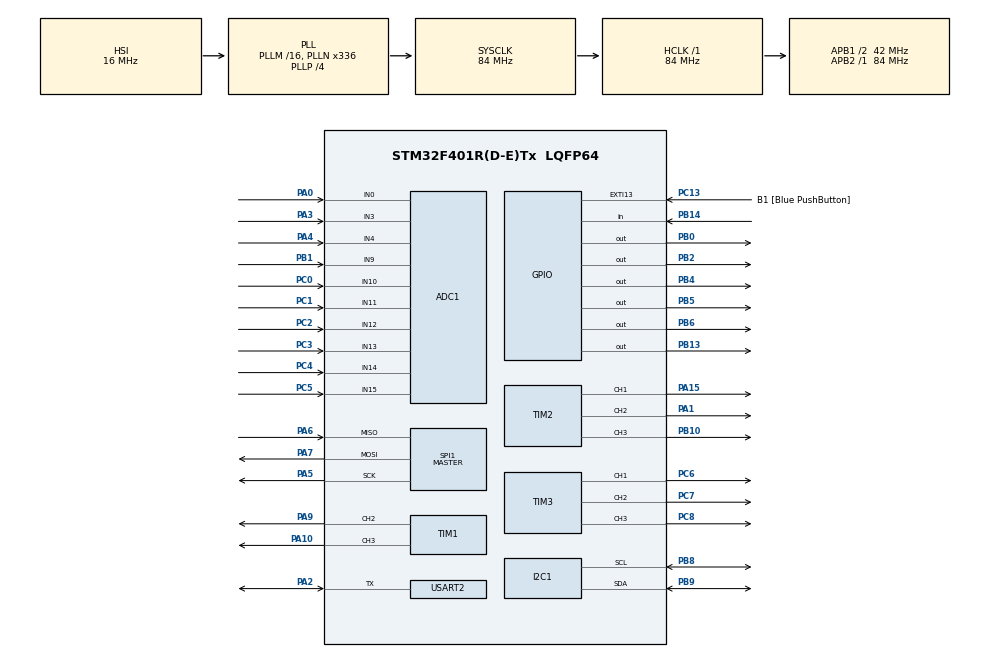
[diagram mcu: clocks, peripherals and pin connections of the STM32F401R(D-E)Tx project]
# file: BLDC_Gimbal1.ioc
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ADC1.Channel-10\#ChannelRegularConversion=ADC_CHANNEL_15
ADC1.Channel-2\#ChannelRegularConversion=ADC_CHANNEL_0
ADC1.Channel-3\#ChannelRegularConversion=ADC_CHANNEL_4
ADC1.Channel-4\#ChannelRegularConversion=ADC_CHANNEL_9
ADC1.Channel-5\#ChannelRegularConversion=ADC_CHANNEL_10
ADC1.Channel-6\#ChannelRegularConversion=ADC_CHANNEL_11
ADC1.Channel-7\#ChannelRegularConversion=ADC_CHANNEL_12
ADC1.Channel-8\#ChannelRegularConversion=ADC_CHANNEL_13
ADC1.Channel-9\#ChannelRegularConversion=ADC_CHANNEL_14
ADC1.ClockPrescaler=ADC_CLOCK_SYNC_PCLK_DIV8
ADC1.ContinuousConvMode=ENABLE
ADC1.DMAContinuousRequests=ENABLE
ADC1.EOCSelection=ADC_EOC_SINGLE_CONV
ADC1.InjNumberOfConversion=0
ADC1.NbrOfConversion=9
ADC1.NbrOfConversionFlag=1
ADC1.Rank-10\#ChannelRegularConversion=9
ADC1.Rank-2\#ChannelRegularConversion=1
ADC1.Rank-3\#ChannelRegularConversion=2
ADC1.Rank-4\#ChannelRegularConversion=3
ADC1.Rank-5\#ChannelRegularConversion=4
ADC1.Rank-6\#ChannelRegularConversion=5
ADC1.Rank-7\#ChannelRegularConversion=6
ADC1.Rank-8\#ChannelRegularConversion=7
ADC1.Rank-9\#ChannelRegularConversion=8
ADC1.SamplingTime-10\#ChannelRegularConversion=ADC_SAMPLETIME_3CYCLES
ADC1.SamplingTime-2\#ChannelRegularConversion=ADC_SAMPLETIME_3CYCLES
ADC1.SamplingTime-3\#ChannelRegularConversion=ADC_SAMPLETIME_3CYCLES
ADC1.SamplingTime-4\#ChannelRegularConversion=ADC_SAMPLETIME_3CYCLES
ADC1.SamplingTime-5\#ChannelRegularConversion=ADC_SAMPLETIME_3CYCLES
ADC1.SamplingTime-6\#ChannelRegularConversion=ADC_SAMPLETIME_3CYCLES
ADC1.SamplingTime-7\#ChannelRegularConversion=ADC_SAMPLETIME_3CYCLES
ADC1.SamplingTime-8\#ChannelRegularConversion=ADC_SAMPLETIME_3CYCLES
ADC1.SamplingTime-9\#ChannelRegularConversion=ADC_SAMPLETIME_3CYCLES
ADC1.master=1
Dma.ADC1.0.Direction=DMA_PERIPH_TO_MEMORY
Dma.ADC1.0.FIFOMode=DMA_FIFOMODE_DISABLE
Dma.ADC1.0.Instance=DMA2_Stream0
Dma.ADC1.0.MemDataAlignment=DMA_MDATAALIGN_HALFWORD
Dma.ADC1.0.MemInc=DMA_MINC_ENABLE
Dma.ADC1.0.Mode=DMA_NORMAL
Dma.ADC1.0.PeriphDataAlignment=DMA_PDATAALIGN_HALFWORD
Dma.ADC1.0.PeriphInc=DMA_PINC_DISABLE
Dma.ADC1.0.Priority=DMA_PRIORITY_LOW
Dma.Request0=ADC1
I2C1.I2C_Mode=I2C_Fast
Mcu.Family=STM32F4
Mcu.Name=STM32F401R(D-E)Tx
Mcu.Package=LQFP64
NVIC.DMA2_Stream0_IRQn=true\:0\:0\:false\:false\:true\:false\:true
NVIC.PriorityGroup=NVIC_PRIORITYGROUP_0
PA0-WKUP.Signal=ADCx_IN0
PA1.Signal=S_TIM2_CH2
PA10.Signal=S_TIM1_CH3
PA11.Signal=S_TIM1_CH4
PA13.GPIO_Label=TMS
PA13.Mode=Serial_Wire
PA13.Signal=SYS_JTMS-SWDIO
PA14.GPIO_Label=TCK
PA14.Mode=Serial_Wire
PA14.Signal=SYS_JTCK-SWCLK
PA15.Signal=S_TIM2_CH1_ETR
PA2.Mode=Half_duplex(single_wire_mode)
PA2.Signal=USART2_TX
PA3.Signal=ADCx_IN3
PA4.Signal=ADCx_IN4
PA5.Mode=Full_Duplex_Master
PA5.Signal=SPI1_SCK
PA6.Mode=Full_Duplex_Master
PA6.Signal=SPI1_MISO
PA7.Mode=Full_Duplex_Master
PA7.Signal=SPI1_MOSI
PA9.Signal=S_TIM1_CH2
PB0.Signal=GPIO_Output
PB1.Signal=ADCx_IN9
PB10.Signal=S_TIM2_CH3
PB13.Signal=GPIO_Output
PB14.Signal=GPIO_Input
PB2.Signal=GPIO_Output
PB3.GPIO_Label=SWO
PB3.Signal=SYS_JTDO-SWO
PB4.Signal=GPIO_Output
PB5.Signal=GPIO_Output
PB6.Signal=GPIO_Output
PB8.Mode=I2C
PB8.Signal=I2C1_SCL
PB9.Mode=I2C
PB9.Signal=I2C1_SDA
PC0.Signal=ADCx_IN10
PC1.Signal=ADCx_IN11
PC13-ANTI_TAMP.GPIO_Label=B1 [Blue PushButton]
PC13-ANTI_TAMP.GPIO_ModeDefaultEXTI=GPIO_MODE_IT_FALLING
PC13-ANTI_TAMP.GPIO_PuPd=GPIO_NOPULL
PC13-ANTI_TAMP.Signal=GPXTI13
PC14-OSC32_IN.Mode=LSE-External-Oscillator
PC14-OSC32_IN.Signal=RCC_OSC32_IN
PC15-OSC32_OUT.Mode=LSE-External-Oscillator
PC15-OSC32_OUT.Signal=RCC_OSC32_OUT
PC2.Signal=ADCx_IN12
PC3.Signal=ADCx_IN13
PC4.Signal=ADCx_IN14
PC5.Signal=ADCx_IN15
PC6.Signal=S_TIM3_CH1
PC7.Signal=S_TIM3_CH2
PC8.Signal=S_TIM3_CH3
PH0\ -\ OSC_IN.Mode=HSE-External-Clock-Source
PH0\ -\ OSC_IN.Signal=RCC_OSC_IN
PH1\ -\ OSC_OUT.Mode=HSE-External-Clock-Source
PH1\ -\ OSC_OUT.Signal=RCC_OSC_OUT
ProjectManager.HeapSize=0x200
ProjectManager.StackSize=0x400
ProjectManager.TargetToolchain=STM32CubeIDE
RCC.48MHZClocksFreq_Value=84000000
RCC.AHBFreq_Value=84000000
RCC.APB1CLKDivider=RCC_HCLK_DIV2
RCC.APB1Freq_Value=42000000
RCC.APB1TimFreq_Value=84000000
RCC.APB2Freq_Value=84000000
RCC.APB2TimFreq_Value=84000000
RCC.CortexFreq_Value=84000000
RCC.HCLKFreq_Value=84000000
RCC.HSE_VALUE=25000000
RCC.HSI_VALUE=16000000
RCC.PLLN=336
RCC.PLLP=RCC_PLLP_DIV4
RCC.SYSCLKFreq_VALUE=84000000
RCC.SYSCLKSource=RCC_SYSCLKSOURCE_PLLCLK
RCC.VCOOutputFreq_Value=336000000
SH.ADCx_IN0.0=ADC1_IN0,IN0
SH.ADCx_IN10.0=ADC1_IN10,IN10
SH.ADCx_IN11.0=ADC1_IN11,IN11
SH.ADCx_IN12.0=ADC1_IN12,IN12
SH.ADCx_IN13.0=ADC1_IN13,IN13
SH.ADCx_IN14.0=ADC1_IN14,IN14
SH.ADCx_IN15.0=ADC1_IN15,IN15
SH.ADCx_IN3.0=ADC1_IN3,IN3
SH.ADCx_IN4.0=ADC1_IN4,IN4
SH.ADCx_IN9.0=ADC1_IN9,IN9
SH.S_TIM1_CH2.0=TIM1_CH2,PWM Generation2 CH2
SH.S_TIM1_CH3.0=TIM1_CH3,PWM Generation3 CH3
SH.S_TIM1_CH4.0=TIM1_CH4
SH.S_TIM2_CH1_ETR.0=TIM2_CH1,PWM Generation1 CH1
SH.S_TIM2_CH2.0=TIM2_CH2,PWM Generation2 CH2
SH.S_TIM2_CH3.0=TIM2_CH3,PWM Generation3 CH3
SH.S_TIM3_CH1.0=TIM3_CH1,PWM Generation1 CH1
SH.S_TIM3_CH2.0=TIM3_CH2,PWM Generation2 CH2
SH.S_TIM3_CH3.0=TIM3_CH3,PWM Generation3 CH3
SPI1.BaudRatePrescaler=SPI_BAUDRATEPRESCALER_64
SPI1.DataSize=SPI_DATASIZE_8BIT
SPI1.Direction=SPI_DIRECTION_2LINES
SPI1.Mode=SPI_MODE_MASTER
SPI1.VirtualType=VM_MASTER
TIM1.Channel-PWM\ Generation1\ CH1=TIM_CHANNEL_1
TIM1.Channel-PWM\ Generation2\ CH2=TIM_CHANNEL_2
TIM1.Channel-PWM\ Generation3\ CH3=TIM_CHANNEL_3
TIM2.Channel-PWM\ Generation1\ CH1=TIM_CHANNEL_1
TIM2.Channel-PWM\ Generation2\ CH2=TIM_CHANNEL_2
TIM2.Channel-PWM\ Generation3\ CH3=TIM_CHANNEL_3
TIM3.Channel-PWM\ Generation1\ CH1=TIM_CHANNEL_1
TIM3.Channel-PWM\ Generation2\ CH2=TIM_CHANNEL_2
TIM3.Channel-PWM\ Generation3\ CH3=TIM_CHANNEL_3
USART2.VirtualMode=VM_ASYNC
VP_TIM1_VS_ClockSourceINT.Mode=Internal
VP_TIM2_VS_ClockSourceINT.Mode=Internal
VP_TIM3_VS_ClockSourceINT.Mode=Internal
board=NUCLEO-F401RE

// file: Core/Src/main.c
/* USER CODE BEGIN Header */
/**
 ******************************************************************************
 * @file           : main.c
 * @brief          : Main program body
 ******************************************************************************
 * @attention
 *
 * <h2><center>&copy; Copyright (c) 2021 STMicroelectronics.
 * All rights reserved.</center></h2>
 *
 * This software component is licensed by ST under BSD 3-Clause license,
 * the "License"; You may not use this file except in compliance with the
 * License. You may obtain a copy of the License at:
 *                        opensource.org/licenses/BSD-3-Clause
 *
 ******************************************************************************
 */
/* USER CODE END Header */
#include "main.h"

/* USER CODE BEGIN Includes */
#include <math.h>
#include <string.h>
#include <stdio.h>
#include <time.h>
#include "ICM20602.h"
#include "BMI270.h"
#include "I2C.h"
#include "AS5048A.h"
#include "Quaternions.h"
#include "DRV8313.h"
#include "def.h"
/* USER CODE END Includes */

ADC_HandleTypeDef hadc1;
DMA_HandleTypeDef hdma_adc1;

I2C_HandleTypeDef hi2c1;

SPI_HandleTypeDef hspi1;

TIM_HandleTypeDef htim1;
TIM_HandleTypeDef htim2;
TIM_HandleTypeDef htim3;

UART_HandleTypeDef huart2;

/* USER CODE BEGIN PV */
I2C_HandleTypeDef hi2c1;
UART_HandleTypeDef huart2;
HAL_StatusTypeDef status;

/*Configuration vars
 * Set these to configure what is read, written, printed, etc. in the while loop*/
//######################################
#define USE_SIM 0
#define USE_ICM20602 0
#define USE_BMI270 0
#define USE_AS5048A 0
#define USE_DRV8313 1
//######################################

/*Quaternion vars*/
//######################################
float SEq_1 = 1.0f, SEq_2 = 0.0f, SEq_3 = 0.0f, SEq_4 = 0.0f;
volatile float q0 = 1.0f, q1 = 0.0f, q2 = 0.0f, q3 = 0.0f;
struct EulerAngles euler;
float sampleDelay = 500.0f; //milliseconds

clock_t t1;
clock_t t2;
float while_t = 280.0f;

#define DEG_TO_RAD 0.01745329251
#define RAD_TO_DEG 57.2957795457
//######################################

/*IMU variables*/
//######################################
float gyr_range, acc_range;

int16_t gyr_x_raw, gyr_y_raw, gyr_z_raw;
int16_t acc_x_raw, acc_y_raw, acc_z_raw;
static float gyr_x, gyr_y, gyr_z;
static float acc_x, acc_y, acc_z;

float roll, pitch, yaw;

uint16_t offset_x = 0, offset_y = 0, offset_z = 0;

uint8_t chip_id = 0;
//######################################

/*Encoder vars*/
//######################################
uint16_t curr_angle[amt_encoders];
float curr_angle_map[amt_encoders];
uint16_t zero_pos[amt_encoders];
float zero_pos_map[amt_encoders];

float angle[amt_encoders];
//######################################

/*Simulation vars*/
//######################################
float ax_s = 0, ay_s = 0, az_s = 0, gx_s = 0, gy_s = 0, gz_s = 0;
uint8_t zero_c = 0;
//######################################

/*DRV8313 vars*/
//######################################
struct Drv8313_Driver MotorDriverX;
struct Drv8313_Driver MotorDriverY;
struct Drv8313_Driver MotorDriverZ;

volatile uint16_t adc_read[ADC_CHANNELS];
volatile uint8_t adcConvComplete = 0;

//######################################

//wait variable for bypassing zero-values when calculating quaternion
uint8_t waitUpdate = 0;

uint8_t buff[512]; //string buff for UART

/* USER CODE END PV */

void SystemClock_Config(void);
static void MX_GPIO_Init(void);
static void MX_SPI1_Init(void);
static void MX_I2C1_Init(void);
static void MX_TIM2_Init(void);
static void MX_TIM1_Init(void);
static void MX_TIM3_Init(void);
static void MX_ADC1_Init(void);
static void MX_DMA_Init(void);
static void MX_USART2_UART_Init(void);

int main(void)
{

  /* MCU Configuration--------------------------------------------------------*/

  /* Reset of all peripherals, Initializes the Flash interface and the Systick. */
  HAL_Init();

  /* Configure the system clock */
  SystemClock_Config();

  /* Initialize all configured peripherals */
  MX_GPIO_Init();
  MX_SPI1_Init();
  MX_I2C1_Init();
  MX_TIM2_Init();
  MX_TIM1_Init();
  MX_TIM3_Init();
  MX_ADC1_Init();
  MX_DMA_Init();
  MX_USART2_UART_Init();
  /* USER CODE BEGIN 2 */

	sprintf((char*) buff, "\r\n###########################\r\n");
	HAL_UART_Transmit(&huart2, buff, strlen((char*) buff), HAL_MAX_DELAY);

	if(USE_DRV8313){
		MotorDriverX.motor_id = AXIS_X;
		MotorDriverY.motor_id = AXIS_Y;
		MotorDriverZ.motor_id = AXIS_Z;

		//drv8313_init();

		HAL_ADC_Start_DMA(&hadc1, (uint32_t*)adc_read, ADC_CHANNELS);

	}

	if (USE_ICM20602) {
		icm20602_init();
	}

	if (USE_BMI270) {
		bmi270_spi_init();
		bmi270_spi_init_check();

		bmi270_pwr_conf(BMI270_PWR_MODE_PERF);
		bmi270_spi_write_8(REG_GYR_RANGE, range_2000);
		gyr_range = bmi270_getGyroRange();
		acc_range = bmi270_getAccelRange();
	}

	if(USE_AS5048A){
		as5048a_init();
			//Set zero position for all encoders
		zero_pos[AXIS_X] = as5048a_getRawRotation(GPIO_ENC_X);
		zero_pos[AXIS_Y] = as5048a_getRawRotation(GPIO_ENC_Y);
		zero_pos[AXIS_Z] = as5048a_getRawRotation(GPIO_ENC_Z);
		zero_pos_map[AXIS_X] = as5048a_readToAngle(zero_pos[AXIS_X]);
		zero_pos_map[AXIS_Y] = as5048a_readToAngle(zero_pos[AXIS_Y]);
		zero_pos_map[AXIS_Z] = as5048a_readToAngle(zero_pos[AXIS_Z]);
	}

	setSampleFreq();
  /* USER CODE END 2 */

  /* Infinite loop */
  /* USER CODE BEGIN WHILE */
	while (1) {
		t1 = HAL_GetTick();
		setSampleFreq();

		if (USE_AS5048A) {
			as5048a_getAllAngles();
		}

		if(USE_DRV8313){

			while(adcConvComplete == 0){

			}
			adcConvComplete = 0;

		}

		HAL_Delay(sampleDelay);

		sprintf((char*) buff, "Motor X\r\nSense1: %i\tSense2: %i\tSense3: %i\r\n", MotorDriverX.sense1, MotorDriverX.sense2, MotorDriverX.sense3);
					HAL_UART_Transmit(&huart2, buff, strlen((char*) buff), HAL_MAX_DELAY);

		if(USE_ICM20602){
			i2c_read_16(ICM20602_ADDR, REG_ACCEL_XOUT_L, REG_ACCEL_XOUT_H,
					&acc_x_raw);
			i2c_read_16(ICM20602_ADDR, REG_ACCEL_YOUT_L, REG_ACCEL_YOUT_H,
					&acc_y_raw);
			i2c_read_16(ICM20602_ADDR, REG_ACCEL_ZOUT_L, REG_ACCEL_ZOUT_H,
					&acc_z_raw);

			i2c_read_16(ICM20602_ADDR, REG_GYRO_XOUT_L, REG_GYRO_XOUT_H,
					&gyr_x_raw);
			i2c_read_16(ICM20602_ADDR, REG_GYRO_YOUT_L, REG_GYRO_YOUT_H,
					&gyr_y_raw);
			i2c_read_16(ICM20602_ADDR, REG_GYRO_ZOUT_L, REG_GYRO_ZOUT_H,
					&gyr_z_raw);

			gyr_x = gyr_x_raw / FS_SEL_divider;
			gyr_y = gyr_y_raw / FS_SEL_divider;
			gyr_z = gyr_z_raw / FS_SEL_divider;

			acc_x = acc_x_raw / AFS_SEL;
			acc_y = acc_y_raw / AFS_SEL;
			acc_z = acc_z_raw / AFS_SEL;
		}

		if(USE_BMI270){
			gyr_x = bmi270_read_gyro(AXIS_X);
			gyr_y = bmi270_read_gyro(AXIS_Y);
			gyr_z = bmi270_read_gyro(AXIS_Z);

			gyr_x = bmi270_lsb_to_dps(gyr_x, gyr_range);
			gyr_y = bmi270_lsb_to_dps(gyr_y, gyr_range);
			gyr_z = bmi270_lsb_to_dps(gyr_z, gyr_range);

			acc_x = bmi270_read_accel(AXIS_X);
			acc_y = bmi270_read_accel(AXIS_Y);
			acc_z = bmi270_read_accel(AXIS_Z);

			acc_x = bmi270_lsb_to_mps2(acc_x, acc_range);
			acc_y = bmi270_lsb_to_mps2(acc_y, acc_range);
			acc_z = bmi270_lsb_to_mps2(acc_z, acc_range);
		}

		//Wait before updating quaternion. This avoids div by zero in different Quaternion functions.
		if (waitUpdate >= 1 && !USE_SIM && (USE_BMI270 || USE_ICM20602)) {
			filterUpdate(gyr_x * DEG_TO_RAD, gyr_y * DEG_TO_RAD,
					gyr_z * DEG_TO_RAD, acc_x, acc_y, acc_z);
		}
		else if (USE_SIM) {
			gx_s = 0;
			gy_s = 0;
			gz_s = 10;
			ax_s = 0.0;
			ay_s = 0.0;
			az_s = 0.0;
			filterUpdate(gx_s * DEG_TO_RAD, gy_s * DEG_TO_RAD,
					gz_s * DEG_TO_RAD, ax_s, ay_s, az_s);
		}
		waitUpdate++;

		if(USE_ICM20602 || USE_BMI270){
			euler = ToEulerAngles(q0, q1, q2, q3);
					roll = euler.x * RAD_TO_DEG;
					pitch = euler.y * RAD_TO_DEG;
					yaw = euler.z * RAD_TO_DEG;

			sprintf((char*) buff, "gyr_range: %f\r\n"
							"acc_range: %f\r\n"
							"while loop time: %f\r\n"
							"gyroscope x: %f˚/s, y: %f˚/s, z: %f˚/s\r\n"
							"accelerometer x: %f m/s2, y: %f m/s2, z: %f m/s2\r\n"
							"q1: %f, q2: %f, q3: %f, q4: %f\r\n"
							"roll: %f, pitch: %f, yaw: %f\r\n",
							acc_range, gyr_range,
							while_t,
							gyr_x, gyr_y, gyr_z, acc_x, acc_y, acc_z,
							q0, q1, q2, q3,
							roll, pitch, yaw);

			HAL_UART_Transmit(&huart2, buff, strlen((char*) buff), HAL_MAX_DELAY);
		}

		t2 = HAL_GetTick();
		while_t = t2 - t1;
    /* USER CODE END WHILE */

	}
}

void SystemClock_Config(void)
{
  RCC_OscInitTypeDef RCC_OscInitStruct = {0};
  RCC_ClkInitTypeDef RCC_ClkInitStruct = {0};

  /** Configure the main internal regulator output voltage
  */
  __HAL_RCC_PWR_CLK_ENABLE();
  __HAL_PWR_VOLTAGESCALING_CONFIG(PWR_REGULATOR_VOLTAGE_SCALE2);
  /** Initializes the RCC Oscillators according to the specified parameters
  * in the RCC_OscInitTypeDef structure.
  */
  RCC_OscInitStruct.OscillatorType = RCC_OSCILLATORTYPE_HSI;
  RCC_OscInitStruct.HSIState = RCC_HSI_ON;
  RCC_OscInitStruct.HSICalibrationValue = RCC_HSICALIBRATION_DEFAULT;
  RCC_OscInitStruct.PLL.PLLState = RCC_PLL_ON;
  RCC_OscInitStruct.PLL.PLLSource = RCC_PLLSOURCE_HSI;
  RCC_OscInitStruct.PLL.PLLM = 16;
  RCC_OscInitStruct.PLL.PLLN = 336;
  RCC_OscInitStruct.PLL.PLLP = RCC_PLLP_DIV4;
  RCC_OscInitStruct.PLL.PLLQ = 4;
  if (HAL_RCC_OscConfig(&RCC_OscInitStruct) != HAL_OK)
  {
    Error_Handler();
  }
  /** Initializes the CPU, AHB and APB buses clocks
  */
  RCC_ClkInitStruct.ClockType = RCC_CLOCKTYPE_HCLK|RCC_CLOCKTYPE_SYSCLK
                              |RCC_CLOCKTYPE_PCLK1|RCC_CLOCKTYPE_PCLK2;
  RCC_ClkInitStruct.SYSCLKSource = RCC_SYSCLKSOURCE_PLLCLK;
  RCC_ClkInitStruct.AHBCLKDivider = RCC_SYSCLK_DIV1;
  RCC_ClkInitStruct.APB1CLKDivider = RCC_HCLK_DIV2;
  RCC_ClkInitStruct.APB2CLKDivider = RCC_HCLK_DIV1;

  if (HAL_RCC_ClockConfig(&RCC_ClkInitStruct, FLASH_LATENCY_2) != HAL_OK)
  {
    Error_Handler();
  }
}

static void MX_ADC1_Init(void)
{

  ADC_ChannelConfTypeDef sConfig = {0};

  /** Configure the global features of the ADC (Clock, Resolution, Data Alignment and number of conversion)
  */
  hadc1.Instance = ADC1;
  hadc1.Init.ClockPrescaler = ADC_CLOCK_SYNC_PCLK_DIV8;
  hadc1.Init.Resolution = ADC_RESOLUTION_12B;
  hadc1.Init.ScanConvMode = ENABLE;
  hadc1.Init.ContinuousConvMode = ENABLE;
  hadc1.Init.DiscontinuousConvMode = DISABLE;
  hadc1.Init.ExternalTrigConvEdge = ADC_EXTERNALTRIGCONVEDGE_NONE;
  hadc1.Init.ExternalTrigConv = ADC_SOFTWARE_START;
  hadc1.Init.DataAlign = ADC_DATAALIGN_RIGHT;
  hadc1.Init.NbrOfConversion = 9;
  hadc1.Init.DMAContinuousRequests = ENABLE;
  hadc1.Init.EOCSelection = ADC_EOC_SINGLE_CONV;
  if (HAL_ADC_Init(&hadc1) != HAL_OK)
  {
    Error_Handler();
  }
  /** Configure for the selected ADC regular channel its corresponding rank in the sequencer and its sample time.
  */
  sConfig.Channel = ADC_CHANNEL_0;
  sConfig.Rank = 1;
  sConfig.SamplingTime = ADC_SAMPLETIME_3CYCLES;
  if (HAL_ADC_ConfigChannel(&hadc1, &sConfig) != HAL_OK)
  {
    Error_Handler();
  }
  /** Configure for the selected ADC regular channel its corresponding rank in the sequencer and its sample time.
  */
  sConfig.Channel = ADC_CHANNEL_4;
  sConfig.Rank = 2;
  if (HAL_ADC_ConfigChannel(&hadc1, &sConfig) != HAL_OK)
  {
    Error_Handler();
  }
  /** Configure for the selected ADC regular channel its corresponding rank in the sequencer and its sample time.
  */
  sConfig.Channel = ADC_CHANNEL_9;
  sConfig.Rank = 3;
  if (HAL_ADC_ConfigChannel(&hadc1, &sConfig) != HAL_OK)
  {
    Error_Handler();
  }
  /** Configure for the selected ADC regular channel its corresponding rank in the sequencer and its sample time.
  */
  sConfig.Channel = ADC_CHANNEL_10;
  sConfig.Rank = 4;
  if (HAL_ADC_ConfigChannel(&hadc1, &sConfig) != HAL_OK)
  {
    Error_Handler();
  }
  /** Configure for the selected ADC regular channel its corresponding rank in the sequencer and its sample time.
  */
  sConfig.Channel = ADC_CHANNEL_11;
  sConfig.Rank = 5;
  if (HAL_ADC_ConfigChannel(&hadc1, &sConfig) != HAL_OK)
  {
    Error_Handler();
  }
  /** Configure for the selected ADC regular channel its corresponding rank in the sequencer and its sample time.
  */
  sConfig.Channel = ADC_CHANNEL_12;
  sConfig.Rank = 6;
  if (HAL_ADC_ConfigChannel(&hadc1, &sConfig) != HAL_OK)
  {
    Error_Handler();
  }
  /** Configure for the selected ADC regular channel its corresponding rank in the sequencer and its sample time.
  */
  sConfig.Channel = ADC_CHANNEL_13;
  sConfig.Rank = 7;
  if (HAL_ADC_ConfigChannel(&hadc1, &sConfig) != HAL_OK)
  {
    Error_Handler();
  }
  /** Configure for the selected ADC regular channel its corresponding rank in the sequencer and its sample time.
  */
  sConfig.Channel = ADC_CHANNEL_14;
  sConfig.Rank = 8;
  if (HAL_ADC_ConfigChannel(&hadc1, &sConfig) != HAL_OK)
  {
    Error_Handler();
  }
  /** Configure for the selected ADC regular channel its corresponding rank in the sequencer and its sample time.
  */
  sConfig.Channel = ADC_CHANNEL_15;
  sConfig.Rank = 9;
  if (HAL_ADC_ConfigChannel(&hadc1, &sConfig) != HAL_OK)
  {
    Error_Handler();
  }

}

static void MX_I2C1_Init(void)
{

  hi2c1.Instance = I2C1;
  hi2c1.Init.ClockSpeed = 400000;
  hi2c1.Init.DutyCycle = I2C_DUTYCYCLE_2;
  hi2c1.Init.OwnAddress1 = 0;
  hi2c1.Init.AddressingMode = I2C_ADDRESSINGMODE_7BIT;
  hi2c1.Init.DualAddressMode = I2C_DUALADDRESS_DISABLE;
  hi2c1.Init.OwnAddress2 = 0;
  hi2c1.Init.GeneralCallMode = I2C_GENERALCALL_DISABLE;
  hi2c1.Init.NoStretchMode = I2C_NOSTRETCH_DISABLE;
  if (HAL_I2C_Init(&hi2c1) != HAL_OK)
  {
    Error_Handler();
  }

}

static void MX_SPI1_Init(void)
{

  /* SPI1 parameter configuration*/
  hspi1.Instance = SPI1;
  hspi1.Init.Mode = SPI_MODE_MASTER;
  hspi1.Init.Direction = SPI_DIRECTION_2LINES;
  hspi1.Init.DataSize = SPI_DATASIZE_8BIT;
  hspi1.Init.CLKPolarity = SPI_POLARITY_LOW;
  hspi1.Init.CLKPhase = SPI_PHASE_1EDGE;
  hspi1.Init.NSS = SPI_NSS_SOFT;
  hspi1.Init.BaudRatePrescaler = SPI_BAUDRATEPRESCALER_64;
  hspi1.Init.FirstBit = SPI_FIRSTBIT_MSB;
  hspi1.Init.TIMode = SPI_TIMODE_DISABLE;
  hspi1.Init.CRCCalculation = SPI_CRCCALCULATION_DISABLE;
  hspi1.Init.CRCPolynomial = 10;
  if (HAL_SPI_Init(&hspi1) != HAL_OK)
  {
    Error_Handler();
  }

}

static void MX_TIM1_Init(void)
{

  TIM_ClockConfigTypeDef sClockSourceConfig = {0};
  TIM_MasterConfigTypeDef sMasterConfig = {0};
  TIM_OC_InitTypeDef sConfigOC = {0};
  TIM_BreakDeadTimeConfigTypeDef sBreakDeadTimeConfig = {0};

  htim1.Instance = TIM1;
  htim1.Init.Prescaler = 0;
  htim1.Init.CounterMode = TIM_COUNTERMODE_UP;
  htim1.Init.Period = 65535;
  htim1.Init.ClockDivision = TIM_CLOCKDIVISION_DIV1;
  htim1.Init.RepetitionCounter = 0;
  htim1.Init.AutoReloadPreload = TIM_AUTORELOAD_PRELOAD_DISABLE;
  if (HAL_TIM_Base_Init(&htim1) != HAL_OK)
  {
    Error_Handler();
  }
  sClockSourceConfig.ClockSource = TIM_CLOCKSOURCE_INTERNAL;
  if (HAL_TIM_ConfigClockSource(&htim1, &sClockSourceConfig) != HAL_OK)
  {
    Error_Handler();
  }
  if (HAL_TIM_PWM_Init(&htim1) != HAL_OK)
  {
    Error_Handler();
  }
  sMasterConfig.MasterOutputTrigger = TIM_TRGO_RESET;
  sMasterConfig.MasterSlaveMode = TIM_MASTERSLAVEMODE_DISABLE;
  if (HAL_TIMEx_MasterConfigSynchronization(&htim1, &sMasterConfig) != HAL_OK)
  {
    Error_Handler();
  }
  sConfigOC.OCMode = TIM_OCMODE_PWM1;
  sConfigOC.Pulse = 0;
  sConfigOC.OCPolarity = TIM_OCPOLARITY_HIGH;
  sConfigOC.OCNPolarity = TIM_OCNPOLARITY_HIGH;
  sConfigOC.OCFastMode = TIM_OCFAST_DISABLE;
  sConfigOC.OCIdleState = TIM_OCIDLESTATE_RESET;
  sConfigOC.OCNIdleState = TIM_OCNIDLESTATE_RESET;
  if (HAL_TIM_PWM_ConfigChannel(&htim1, &sConfigOC, TIM_CHANNEL_2) != HAL_OK)
  {
    Error_Handler();
  }
  if (HAL_TIM_PWM_ConfigChannel(&htim1, &sConfigOC, TIM_CHANNEL_3) != HAL_OK)
  {
    Error_Handler();
  }
  sBreakDeadTimeConfig.OffStateRunMode = TIM_OSSR_DISABLE;
  sBreakDeadTimeConfig.OffStateIDLEMode = TIM_OSSI_DISABLE;
  sBreakDeadTimeConfig.LockLevel = TIM_LOCKLEVEL_OFF;
  sBreakDeadTimeConfig.DeadTime = 0;
  sBreakDeadTimeConfig.BreakState = TIM_BREAK_DISABLE;
  sBreakDeadTimeConfig.BreakPolarity = TIM_BREAKPOLARITY_HIGH;
  sBreakDeadTimeConfig.AutomaticOutput = TIM_AUTOMATICOUTPUT_DISABLE;
  if (HAL_TIMEx_ConfigBreakDeadTime(&htim1, &sBreakDeadTimeConfig) != HAL_OK)
  {
    Error_Handler();
  }
  HAL_TIM_MspPostInit(&htim1);

}

static void MX_TIM2_Init(void)
{

  TIM_ClockConfigTypeDef sClockSourceConfig = {0};
  TIM_MasterConfigTypeDef sMasterConfig = {0};
  TIM_OC_InitTypeDef sConfigOC = {0};

  htim2.Instance = TIM2;
  htim2.Init.Prescaler = 0;
  htim2.Init.CounterMode = TIM_COUNTERMODE_UP;
  htim2.Init.Period = 4294967295;
  htim2.Init.ClockDivision = TIM_CLOCKDIVISION_DIV1;
  htim2.Init.AutoReloadPreload = TIM_AUTORELOAD_PRELOAD_DISABLE;
  if (HAL_TIM_Base_Init(&htim2) != HAL_OK)
  {
    Error_Handler();
  }
  sClockSourceConfig.ClockSource = TIM_CLOCKSOURCE_INTERNAL;
  if (HAL_TIM_ConfigClockSource(&htim2, &sClockSourceConfig) != HAL_OK)
  {
    Error_Handler();
  }
  if (HAL_TIM_PWM_Init(&htim2) != HAL_OK)
  {
    Error_Handler();
  }
  sMasterConfig.MasterOutputTrigger = TIM_TRGO_RESET;
  sMasterConfig.MasterSlaveMode = TIM_MASTERSLAVEMODE_DISABLE;
  if (HAL_TIMEx_MasterConfigSynchronization(&htim2, &sMasterConfig) != HAL_OK)
  {
    Error_Handler();
  }
  sConfigOC.OCMode = TIM_OCMODE_PWM1;
  sConfigOC.Pulse = 0;
  sConfigOC.OCPolarity = TIM_OCPOLARITY_HIGH;
  sConfigOC.OCFastMode = TIM_OCFAST_DISABLE;
  if (HAL_TIM_PWM_ConfigChannel(&htim2, &sConfigOC, TIM_CHANNEL_1) != HAL_OK)
  {
    Error_Handler();
  }
  if (HAL_TIM_PWM_ConfigChannel(&htim2, &sConfigOC, TIM_CHANNEL_2) != HAL_OK)
  {
    Error_Handler();
  }
  if (HAL_TIM_PWM_ConfigChannel(&htim2, &sConfigOC, TIM_CHANNEL_3) != HAL_OK)
  {
    Error_Handler();
  }
  HAL_TIM_MspPostInit(&htim2);

}

static void MX_TIM3_Init(void)
{

  TIM_ClockConfigTypeDef sClockSourceConfig = {0};
  TIM_MasterConfigTypeDef sMasterConfig = {0};
  TIM_OC_InitTypeDef sConfigOC = {0};

  htim3.Instance = TIM3;
  htim3.Init.Prescaler = 0;
  htim3.Init.CounterMode = TIM_COUNTERMODE_UP;
  htim3.Init.Period = 65535;
  htim3.Init.ClockDivision = TIM_CLOCKDIVISION_DIV1;
  htim3.Init.AutoReloadPreload = TIM_AUTORELOAD_PRELOAD_DISABLE;
  if (HAL_TIM_Base_Init(&htim3) != HAL_OK)
  {
    Error_Handler();
  }
  sClockSourceConfig.ClockSource = TIM_CLOCKSOURCE_INTERNAL;
  if (HAL_TIM_ConfigClockSource(&htim3, &sClockSourceConfig) != HAL_OK)
  {
    Error_Handler();
  }
  if (HAL_TIM_PWM_Init(&htim3) != HAL_OK)
  {
    Error_Handler();
  }
  sMasterConfig.MasterOutputTrigger = TIM_TRGO_RESET;
  sMasterConfig.MasterSlaveMode = TIM_MASTERSLAVEMODE_DISABLE;
  if (HAL_TIMEx_MasterConfigSynchronization(&htim3, &sMasterConfig) != HAL_OK)
  {
    Error_Handler();
  }
  sConfigOC.OCMode = TIM_OCMODE_PWM1;
  sConfigOC.Pulse = 0;
  sConfigOC.OCPolarity = TIM_OCPOLARITY_HIGH;
  sConfigOC.OCFastMode = TIM_OCFAST_DISABLE;
  if (HAL_TIM_PWM_ConfigChannel(&htim3, &sConfigOC, TIM_CHANNEL_1) != HAL_OK)
  {
    Error_Handler();
  }
  if (HAL_TIM_PWM_ConfigChannel(&htim3, &sConfigOC, TIM_CHANNEL_2) != HAL_OK)
  {
    Error_Handler();
  }
  if (HAL_TIM_PWM_ConfigChannel(&htim3, &sConfigOC, TIM_CHANNEL_3) != HAL_OK)
  {
    Error_Handler();
  }
  HAL_TIM_MspPostInit(&htim3);

}

static void MX_USART2_UART_Init(void)
{

  huart2.Instance = USART2;
  huart2.Init.BaudRate = 115200;
  huart2.Init.WordLength = UART_WORDLENGTH_8B;
  huart2.Init.StopBits = UART_STOPBITS_1;
  huart2.Init.Parity = UART_PARITY_NONE;
  huart2.Init.Mode = UART_MODE_TX_RX;
  huart2.Init.HwFlowCtl = UART_HWCONTROL_NONE;
  huart2.Init.OverSampling = UART_OVERSAMPLING_16;
  if (HAL_HalfDuplex_Init(&huart2) != HAL_OK)
  {
    Error_Handler();
  }

}

static void MX_DMA_Init(void)
{

  /* DMA controller clock enable */
  __HAL_RCC_DMA2_CLK_ENABLE();

  /* DMA interrupt init */
  /* DMA2_Stream0_IRQn interrupt configuration */
  HAL_NVIC_SetPriority(DMA2_Stream0_IRQn, 0, 0);
  HAL_NVIC_EnableIRQ(DMA2_Stream0_IRQn);

}

static void MX_GPIO_Init(void)
{
  GPIO_InitTypeDef GPIO_InitStruct = {0};

  /* GPIO Ports Clock Enable */
  __HAL_RCC_GPIOC_CLK_ENABLE();
  __HAL_RCC_GPIOH_CLK_ENABLE();
  __HAL_RCC_GPIOA_CLK_ENABLE();
  __HAL_RCC_GPIOB_CLK_ENABLE();

  /*Configure GPIO pin Output Level */
  HAL_GPIO_WritePin(GPIOB, GPIO_PIN_0|GPIO_PIN_2|GPIO_PIN_13|GPIO_PIN_4
                          |GPIO_PIN_5|GPIO_PIN_6, GPIO_PIN_RESET);

  /*Configure GPIO pin : B1_Pin */
  GPIO_InitStruct.Pin = B1_Pin;
  GPIO_InitStruct.Mode = GPIO_MODE_IT_FALLING;
  GPIO_InitStruct.Pull = GPIO_NOPULL;
  HAL_GPIO_Init(B1_GPIO_Port, &GPIO_InitStruct);

  /*Configure GPIO pins : PB0 PB2 PB13 PB4
                           PB5 PB6 */
  GPIO_InitStruct.Pin = GPIO_PIN_0|GPIO_PIN_2|GPIO_PIN_13|GPIO_PIN_4
                          |GPIO_PIN_5|GPIO_PIN_6;
  GPIO_InitStruct.Mode = GPIO_MODE_OUTPUT_PP;
  GPIO_InitStruct.Pull = GPIO_NOPULL;
  GPIO_InitStruct.Speed = GPIO_SPEED_FREQ_LOW;
  HAL_GPIO_Init(GPIOB, &GPIO_InitStruct);

  /*Configure GPIO pin : PB14 */
  GPIO_InitStruct.Pin = GPIO_PIN_14;
  GPIO_InitStruct.Mode = GPIO_MODE_INPUT;
  GPIO_InitStruct.Pull = GPIO_NOPULL;
  HAL_GPIO_Init(GPIOB, &GPIO_InitStruct);

}

/* USER CODE BEGIN 4 */

void HAL_ADC_ConvCpltCallback(ADC_HandleTypeDef* hadc){
	adcConvComplete = 1;
}
/* USER CODE END 4 */

void Error_Handler(void)
{
	__disable_irq();
	while (1) {
	}
}

/************************ (C) COPYRIGHT STMicroelectronics *****END OF FILE****/
